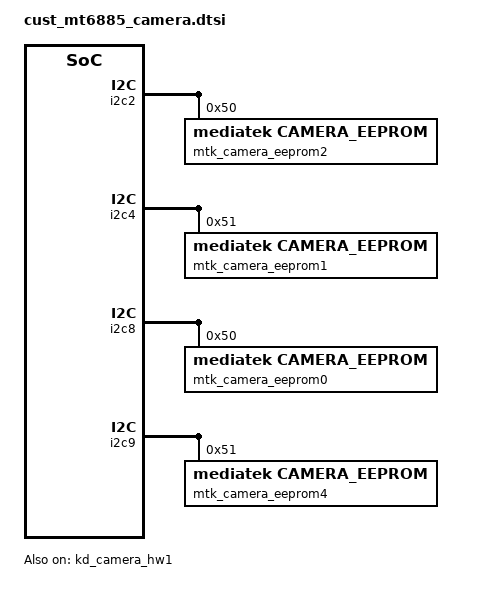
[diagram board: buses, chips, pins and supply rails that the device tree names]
/* SPDX-License-Identifier: GPL-2.0 */
/*
 * Copyright (c) 2019 MediaTek Inc.
*/
/* CAMERA GPIO standardization */
&pio {
	camera_pins_cam0_rst_0: cam0@0 {
		pins_cmd_dat {
			pinmux = <PINMUX_GPIO144__FUNC_GPIO144>;
			slew-rate = <1>;
			output-low;
		};
	};
	camera_pins_cam0_rst_1: cam0@1 {
		pins_cmd_dat {
			pinmux = <PINMUX_GPIO144__FUNC_GPIO144>;
			slew-rate = <1>;
			output-high;
		};
	};
	camera_pins_cam0_pnd_0: cam0@2 {
		pins_cmd_dat {
			pinmux = <PINMUX_GPIO147__FUNC_GPIO147>;
			slew-rate = <1>;
			output-low;
		};
	};
	camera_pins_cam0_pnd_1: cam0@3 {
		pins_cmd_dat {
			pinmux = <PINMUX_GPIO147__FUNC_GPIO147>;
			slew-rate = <1>;
			output-high;
		};
	};
	camera_pins_cam1_rst_0: cam1@0 {
		pins_cmd_dat {
			pinmux = <PINMUX_GPIO134__FUNC_GPIO134>;
			slew-rate = <1>;
			output-low;
		};
	};
	camera_pins_cam1_rst_1: cam1@1 {
		pins_cmd_dat {
			pinmux = <PINMUX_GPIO134__FUNC_GPIO134>;
			slew-rate = <1>;
			output-high;
		};
	};
	camera_pins_cam1_pnd_0: cam1@2 {
		pins_cmd_dat {
			pinmux = <PINMUX_GPIO133__FUNC_GPIO133>;
			slew-rate = <1>;
			output-low;
		};
	};
	camera_pins_cam1_pnd_1: cam1@3 {
		pins_cmd_dat {
			pinmux = <PINMUX_GPIO133__FUNC_GPIO133>;
			slew-rate = <1>;
			output-high;
		};
	};
	camera_pins_cam2_rst_0: cam2@0 {
		pins_cmd_dat {
			pinmux = <PINMUX_GPIO143__FUNC_GPIO143>;
			slew-rate = <1>;
			output-low;
		};
	};
	camera_pins_cam2_rst_1: cam2@1 {
		pins_cmd_dat {
			pinmux = <PINMUX_GPIO143__FUNC_GPIO143>;
			slew-rate = <1>;
			output-high;
		};
	};
	camera_pins_cam2_pnd_0: cam2@2 {
		pins_cmd_dat {
			pinmux = <PINMUX_GPIO146__FUNC_GPIO146>;
			slew-rate = <1>;
			output-low;
		};
	};
	camera_pins_cam2_pnd_1: cam2@3 {
		pins_cmd_dat {
			pinmux = <PINMUX_GPIO146__FUNC_GPIO146>;
			slew-rate = <1>;
			output-high;
		};
	};
	camera_pins_cam4_rst_0: cam4@0 {
		pins_cmd_dat {
			pinmux = <PINMUX_GPIO145__FUNC_GPIO145>;
			slew-rate = <1>;
			output-low;
		};
	};
	camera_pins_cam4_rst_1: cam4@1 {
		pins_cmd_dat {
			pinmux = <PINMUX_GPIO145__FUNC_GPIO145>;
			slew-rate = <1>;
			output-high;
		};
	};
	camera_pins_cam4_pnd_0: cam4@2 {
		pins_cmd_dat {
			pinmux = <PINMUX_GPIO148__FUNC_GPIO148>;
			slew-rate = <1>;
			output-low;
		};
	};
	camera_pins_cam4_pnd_1: cam4@3 {
		pins_cmd_dat {
			pinmux = <PINMUX_GPIO148__FUNC_GPIO148>;
			slew-rate = <1>;
			output-high;
		};
	};
	camera_pins_cam0_vcamd_0: cam0@vcam0 {
		pins_cmd_dat {
			pinmux = <PINMUX_GPIO138__FUNC_GPIO138>;
			slew-rate = <1>;
			output-low;
		};
	};
	camera_pins_cam0_vcamd_1: cam0@vcam1 {
		pins_cmd_dat {
			pinmux = <PINMUX_GPIO138__FUNC_GPIO138>;
			slew-rate = <1>;
			output-high;
		};
	};
	camera_pins_cam0_vcama_0: cam0@vcam2 {
		pins_cmd_dat {
			pinmux = <PINMUX_GPIO5__FUNC_GPIO5>;
			slew-rate = <1>;
			output-low;
		};
	};
	camera_pins_cam0_vcama_1: cam0@vcam3 {
		pins_cmd_dat {
			pinmux = <PINMUX_GPIO5__FUNC_GPIO5>;
			slew-rate = <1>;
			output-high;
		};
	};
	camera_pins_cam1_vcamd_0: cam1@vcam0 {
		pins_cmd_dat {
			pinmux = <PINMUX_GPIO8__FUNC_GPIO8>;
			slew-rate = <1>;
			output-low;
		};
	};
	camera_pins_cam1_vcamd_1: cam1@vcam1 {
		pins_cmd_dat {
			pinmux = <PINMUX_GPIO8__FUNC_GPIO8>;
			slew-rate = <1>;
			output-high;
		};
	};
	camera_pins_cam1_vcama_0: cam1@vcam2 {
		pins_cmd_dat {
			pinmux = <PINMUX_GPIO9__FUNC_GPIO9>;
			slew-rate = <1>;
			output-low;
		};
	};
	camera_pins_cam1_vcama_1: cam1@vcam3 {
		pins_cmd_dat {
			pinmux = <PINMUX_GPIO9__FUNC_GPIO9>;
			slew-rate = <1>;
			output-high;
		};
	};
	camera_pins_cam2_vcamd_0: cam2@vcam0 {
		pins_cmd_dat {
			pinmux = <PINMUX_GPIO135__FUNC_GPIO135>;
			slew-rate = <1>;
			output-low;
		};
	};
	camera_pins_cam2_vcamd_1: cam2@vcam1 {
		pins_cmd_dat {
			pinmux = <PINMUX_GPIO135__FUNC_GPIO135>;
			slew-rate = <1>;
			output-high;
		};
	};
	camera_pins_cam2_vcama_0: cam2@vcam2 {
		pins_cmd_dat {
			pinmux = <PINMUX_GPIO137__FUNC_GPIO137>;
			slew-rate = <1>;
			output-low;
		};
	};
	camera_pins_cam2_vcama_1: cam2@vcam3 {
		pins_cmd_dat {
			pinmux = <PINMUX_GPIO137__FUNC_GPIO137>;
			slew-rate = <1>;
			output-high;
		};
	};
	camera_pins_cam4_vcamd_0: cam4@vcam0 {
		pins_cmd_dat {
			pinmux = <PINMUX_GPIO6__FUNC_GPIO6>;
			slew-rate = <1>;
			output-low;
		};
	};
	camera_pins_cam4_vcamd_1: cam4@vcam1 {
		pins_cmd_dat {
			pinmux = <PINMUX_GPIO6__FUNC_GPIO6>;
			slew-rate = <1>;
			output-high;
		};
	};
	camera_pins_cam4_vcama_0: cam4@vcam2 {
		pins_cmd_dat {
			pinmux = <PINMUX_GPIO7__FUNC_GPIO7>;
			slew-rate = <1>;
			output-low;
		};
	};
	camera_pins_cam4_vcama_1: cam4@vcam3 {
		pins_cmd_dat {
			pinmux = <PINMUX_GPIO7__FUNC_GPIO7>;
			slew-rate = <1>;
			output-high;
		};
	};
	camera_pins_cam0_mclk_off: camera_pins_cam0_mclk_off {
		pins_cmd_dat {
			pinmux = <PINMUX_GPIO150__FUNC_GPIO150>;
			drive-strength = <1>;
		};
	};
	camera_pins_cam0_mclk_2ma: camera_pins_cam0_mclk_2ma {
		pins_cmd_dat {
			pinmux = <PINMUX_GPIO150__FUNC_CMMCLK1>;
			drive-strength = <0>;
		};
	};
	camera_pins_cam0_mclk_4ma: camera_pins_cam0_mclk_4ma {
		pins_cmd_dat {
			pinmux = <PINMUX_GPIO150__FUNC_CMMCLK1>;
			drive-strength = <1>;
		};
	};
	camera_pins_cam0_mclk_6ma: camera_pins_cam0_mclk_6ma {
		pins_cmd_dat {
			pinmux = <PINMUX_GPIO150__FUNC_CMMCLK1>;
			drive-strength = <2>;
		};
	};
	camera_pins_cam0_mclk_8ma: camera_pins_cam0_mclk_8ma {
		pins_cmd_dat {
			pinmux = <PINMUX_GPIO150__FUNC_CMMCLK1>;
			drive-strength = <3>;
		};
	};
	camera_pins_cam1_mclk_off: camera_pins_cam1_mclk_off {
		pins_cmd_dat {
			pinmux = <PINMUX_GPIO136__FUNC_GPIO136>;
			drive-strength = <1>;
		};
	};
	camera_pins_cam1_mclk_2ma: camera_pins_cam1_mclk_2ma {
		pins_cmd_dat {
			pinmux = <PINMUX_GPIO136__FUNC_CMMCLK3>;
			drive-strength = <0>;
		};
	};
	camera_pins_cam1_mclk_4ma: camera_pins_cam1_mclk_4ma {
		pins_cmd_dat {
			pinmux = <PINMUX_GPIO136__FUNC_CMMCLK3>;
			drive-strength = <1>;
		};
	};
	camera_pins_cam1_mclk_6ma: camera_pins_cam1_mclk_6ma {
		pins_cmd_dat {
			pinmux = <PINMUX_GPIO136__FUNC_CMMCLK3>;
			drive-strength = <2>;
		};
	};
	camera_pins_cam1_mclk_8ma: camera_pins_cam1_mclk_8ma {
		pins_cmd_dat {
			pinmux = <PINMUX_GPIO136__FUNC_CMMCLK3>;
			drive-strength = <3>;
		};
	};
	camera_pins_cam2_mclk_off: camera_pins_cam2_mclk_off {
		pins_cmd_dat {
			pinmux = <PINMUX_GPIO149__FUNC_GPIO149>;
			drive-strength = <1>;
		};
	};
	camera_pins_cam2_mclk_2ma: camera_pins_cam2_mclk_2ma {
		pins_cmd_dat {
			pinmux = <PINMUX_GPIO149__FUNC_CMMCLK0>;
			drive-strength = <0>;
		};
	};
	camera_pins_cam2_mclk_4ma: camera_pins_cam2_mclk_4ma {
		pins_cmd_dat {
			pinmux = <PINMUX_GPIO149__FUNC_CMMCLK0>;
			drive-strength = <1>;
		};
	};
	camera_pins_cam2_mclk_6ma: camera_pins_cam2_mclk_6ma {
		pins_cmd_dat {
			pinmux = <PINMUX_GPIO149__FUNC_CMMCLK0>;
			drive-strength = <2>;
		};
	};
	camera_pins_cam2_mclk_8ma: camera_pins_cam2_mclk_8ma {
		pins_cmd_dat {
			pinmux = <PINMUX_GPIO149__FUNC_CMMCLK0>;
			drive-strength = <3>;
		};
	};
	camera_pins_cam4_mclk_off: camera_pins_cam4_mclk_off {
		pins_cmd_dat {
			pinmux = <PINMUX_GPIO151__FUNC_GPIO151>;
			drive-strength = <1>;
		};
	};
	camera_pins_cam4_mclk_2ma: camera_pins_cam4_mclk_2ma {
		pins_cmd_dat {
			pinmux = <PINMUX_GPIO151__FUNC_CMMCLK2>;
			drive-strength = <0>;
		};
	};
	camera_pins_cam4_mclk_4ma: camera_pins_cam4_mclk_4ma {
		pins_cmd_dat {
			pinmux = <PINMUX_GPIO151__FUNC_CMMCLK2>;
			drive-strength = <1>;
		};
	};
	camera_pins_cam4_mclk_6ma: camera_pins_cam4_mclk_6ma {
		pins_cmd_dat {
			pinmux = <PINMUX_GPIO151__FUNC_CMMCLK2>;
			drive-strength = <2>;
		};
	};
	camera_pins_cam4_mclk_8ma: camera_pins_cam4_mclk_8ma {
		pins_cmd_dat {
			pinmux = <PINMUX_GPIO151__FUNC_CMMCLK2>;
			drive-strength = <3>;
		};
	};
	camera_pins_default: camdefault {
	};
};
&kd_camera_hw1 {
	pinctrl-names = "default",
			"cam0_rst0", "cam0_rst1",
			"cam0_pnd0", "cam0_pnd1",
			"cam1_rst0", "cam1_rst1",
			"cam1_pnd0", "cam1_pnd1",
			"cam2_rst0", "cam2_rst1",
			"cam2_pnd0", "cam2_pnd1",
			"cam4_rst0", "cam4_rst1",
			"cam4_pnd0", "cam4_pnd1",
			"cam0_ldo_vcamd_0", "cam0_ldo_vcamd_1",
			"cam0_ldo_vcama_0", "cam0_ldo_vcama_1",
			"cam1_ldo_vcamd_0", "cam1_ldo_vcamd_1",
			"cam1_ldo_vcama_0", "cam1_ldo_vcama_1",
			"cam2_ldo_vcamd_0", "cam2_ldo_vcamd_1",
			"cam2_ldo_vcama_0", "cam2_ldo_vcama_1",
			"cam4_ldo_vcamd_0", "cam4_ldo_vcamd_1",
			"cam4_ldo_vcama_0", "cam4_ldo_vcama_1",
			"cam0_mclk_off",
			"cam0_mclk_2mA", "cam0_mclk_4mA",
			"cam0_mclk_6mA", "cam0_mclk_8mA",
			"cam1_mclk_off",
			"cam1_mclk_2mA", "cam1_mclk_4mA",
			"cam1_mclk_6mA", "cam1_mclk_8mA",
			"cam2_mclk_off",
			"cam2_mclk_2mA", "cam2_mclk_4mA",
			"cam2_mclk_6mA", "cam2_mclk_8mA",
			"cam4_mclk_off",
			"cam4_mclk_2mA", "cam4_mclk_4mA",
			"cam4_mclk_6mA", "cam4_mclk_8mA";
	pinctrl-0 = <&camera_pins_default>;
	pinctrl-1 = <&camera_pins_cam0_rst_0>;
	pinctrl-2 = <&camera_pins_cam0_rst_1>;
	pinctrl-3 = <&camera_pins_cam0_pnd_0>;
	pinctrl-4 = <&camera_pins_cam0_pnd_1>;
	pinctrl-5 = <&camera_pins_cam1_rst_0>;
	pinctrl-6 = <&camera_pins_cam1_rst_1>;
	pinctrl-7 = <&camera_pins_cam1_pnd_0>;
	pinctrl-8 = <&camera_pins_cam1_pnd_1>;
	pinctrl-9 = <&camera_pins_cam2_rst_0>;
	pinctrl-10 = <&camera_pins_cam2_rst_1>;
	pinctrl-11 = <&camera_pins_cam2_pnd_0>;
	pinctrl-12 = <&camera_pins_cam2_pnd_1>;
	pinctrl-13 = <&camera_pins_cam4_rst_0>;
	pinctrl-14 = <&camera_pins_cam4_rst_1>;
	pinctrl-15 = <&camera_pins_cam4_pnd_0>;
	pinctrl-16 = <&camera_pins_cam4_pnd_1>;
	pinctrl-17 = <&camera_pins_cam0_vcamd_0>;
	pinctrl-18 = <&camera_pins_cam0_vcamd_1>;
	pinctrl-19 = <&camera_pins_cam0_vcama_0>;
	pinctrl-20 = <&camera_pins_cam0_vcama_1>;
	pinctrl-21 = <&camera_pins_cam1_vcamd_0>;
	pinctrl-22 = <&camera_pins_cam1_vcamd_1>;
	pinctrl-23 = <&camera_pins_cam1_vcama_0>;
	pinctrl-24 = <&camera_pins_cam1_vcama_1>;
	pinctrl-25 = <&camera_pins_cam2_vcamd_0>;
	pinctrl-26 = <&camera_pins_cam2_vcamd_1>;
	pinctrl-27 = <&camera_pins_cam2_vcama_0>;
	pinctrl-28 = <&camera_pins_cam2_vcama_1>;
	pinctrl-29 = <&camera_pins_cam4_vcamd_0>;
	pinctrl-30 = <&camera_pins_cam4_vcamd_1>;
	pinctrl-31 = <&camera_pins_cam4_vcama_0>;
	pinctrl-32 = <&camera_pins_cam4_vcama_1>;
	pinctrl-33 = <&camera_pins_cam0_mclk_off>;
	pinctrl-34 = <&camera_pins_cam0_mclk_2ma>;
	pinctrl-35 = <&camera_pins_cam0_mclk_4ma>;
	pinctrl-36 = <&camera_pins_cam0_mclk_6ma>;
	pinctrl-37 = <&camera_pins_cam0_mclk_8ma>;
	pinctrl-38 = <&camera_pins_cam1_mclk_off>;
	pinctrl-39 = <&camera_pins_cam1_mclk_2ma>;
	pinctrl-40 = <&camera_pins_cam1_mclk_4ma>;
	pinctrl-41 = <&camera_pins_cam1_mclk_6ma>;
	pinctrl-42 = <&camera_pins_cam1_mclk_8ma>;
	pinctrl-43 = <&camera_pins_cam2_mclk_off>;
	pinctrl-44 = <&camera_pins_cam2_mclk_2ma>;
	pinctrl-45 = <&camera_pins_cam2_mclk_4ma>;
	pinctrl-46 = <&camera_pins_cam2_mclk_6ma>;
	pinctrl-47 = <&camera_pins_cam2_mclk_8ma>;
	pinctrl-48 = <&camera_pins_cam4_mclk_off>;
	pinctrl-49 = <&camera_pins_cam4_mclk_2ma>;
	pinctrl-50 = <&camera_pins_cam4_mclk_4ma>;
	pinctrl-51 = <&camera_pins_cam4_mclk_6ma>;
	pinctrl-52 = <&camera_pins_cam4_mclk_8ma>;

	cam0_vcamio-supply = <&mt_pmic_vcamio_ldo_reg>;
	cam1_vcamio-supply = <&mt_pmic_vcamio_ldo_reg>;
	cam2_vcamio-supply = <&mt_pmic_vcamio_ldo_reg>;
	cam4_vcamio-supply = <&mt_pmic_vcamio_ldo_reg>;

	cam0_pin_mclk = "mclk";
	cam0_pin_pdn = "gpio";
	cam0_pin_rst = "gpio";
	cam0_pin_vcama = "gpio";
	cam0_pin_vcamd = "gpio";
	cam0_pin_vcamio = "regulator";
	cam1_pin_mclk = "mclk";
	cam1_pin_pdn = "gpio";
	cam1_pin_rst = "gpio";
	cam1_pin_vcama = "gpio";
	cam1_pin_vcamd = "gpio";
	cam1_pin_vcamio = "regulator";
	cam2_pin_mclk = "mclk";
	cam2_pin_pdn = "gpio";
	cam2_pin_rst = "gpio";
	cam2_pin_vcama = "gpio";
	cam2_pin_vcamd = "gpio";
	cam2_pin_vcamio = "regulator";
	cam3_pin_mclk = "mclk";
	cam3_pin_pdn = "gpio";
	cam3_pin_rst = "gpio";
	cam3_pin_vcama = "gpio";
	cam3_pin_vcamd = "gpio";
	cam3_pin_vcamio = "regulator";
	cam4_pin_mclk = "mclk";
	cam4_pin_pdn = "gpio";
	cam4_pin_rst = "gpio";
	cam4_pin_vcama = "gpio";
	cam4_pin_vcamd = "gpio";
	cam4_pin_vcamio = "regulator";

	status = "okay";
};
/* CAMERA GPIO end */

/* CAMERA EEPROM */
&i2c2 {
	mtk_camera_eeprom2:camera_eeprom2@50 {
		compatible = "mediatek,camera_eeprom";
		reg = <0x50>;
		status = "okay";
	};
};
&i2c4 {
	mtk_camera_eeprom1:camera_eeprom1@51 {
		compatible = "mediatek,camera_eeprom";
		reg = <0x51>;
		status = "okay";
	};
};
&i2c8 {
	mtk_camera_eeprom0:camera_eeprom0@50 {
		compatible = "mediatek,camera_eeprom";
		reg = <0x50>;
		status = "okay";
	};
};
&i2c9 {
	mtk_camera_eeprom4:camera_eeprom4@51 {
		compatible = "mediatek,camera_eeprom";
		reg = <0x51>;
		status = "okay";
	};
};
/* CAMERA EEPROM end */
